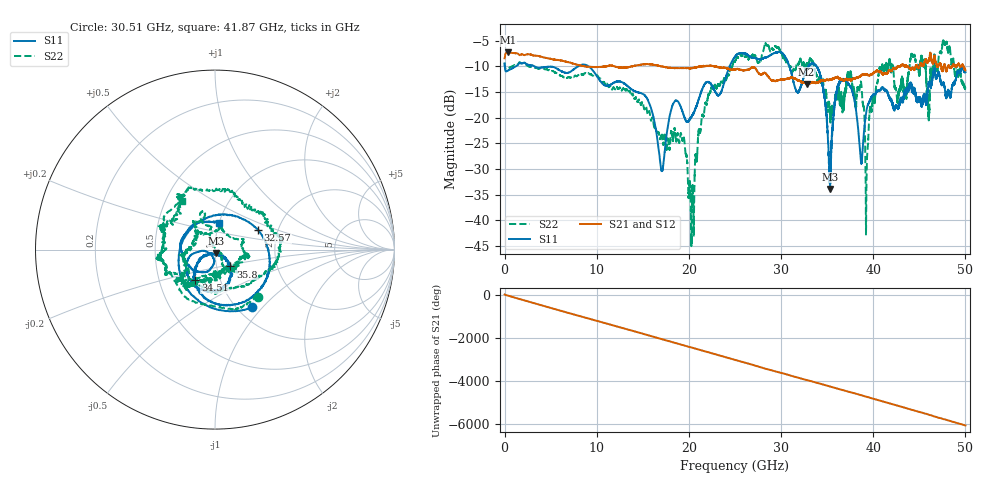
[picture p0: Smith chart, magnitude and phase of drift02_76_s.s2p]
!Created with skrf (http://scikit-rf.org).
# Hz S RI R 50.0
!freq ReS11 ImS11 ReS21 ImS21 ReS12 ImS12 ReS22 ImS22
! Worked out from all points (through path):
!   10001 points, 300 kHz to 50 GHz, reference 50 ohm
!   highest |S21| = -7.32 dB at 375.3 MHz (marker M1); lowest = -13.5 dB at 32.77 GHz (marker M2)
!   group delay of S21, straight-line fit = 335 ps
!   lowest |S11| = -33.9 dB at 35.32 GHz (marker M3), VSWR 1.04, Z = 50.7 - j1.89 ohm
!   |S11| at or under -10 dB: 3.224 GHz to 8.007 GHz (4.783 GHz wide, 85.2 % of centre); 9.107 GHz to 24.41 GHz (15.31 GHz wide, 91.3 % of centre); 33.85 GHz to end of sweep (the widest 3 of 9)
!   |S22| runs from -45.0 to -5.0 dB; largest |S21 - S12| = 0.013
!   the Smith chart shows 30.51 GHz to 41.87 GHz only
!   S11 on the Smith chart (normalised r, x): 30.51 GHz: 1.16, -0.88; 32.57 GHz: 1.58, +0.37; 34.51 GHz: 0.76, -0.27; 35.8 GHz: 1.16, -0.22; 41.87 GHz: 1.00, +0.30
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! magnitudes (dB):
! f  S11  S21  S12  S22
! 300 kHz  -9.5  -8.5  -8.4  -9.3
! 375.3 MHz  -10.8  -7.3  -7.3  -10.5
! 8.335 GHz  -9.7  -9.9  -9.9  -11.6
! 16.67 GHz  -25.5  -9.9  -9.9  -22.8
! 19.31 GHz  -18.9  -10.4  -10.3  -24.5
! 20.37 GHz  -19.5  -10.3  -10.3  -34.1
! 21.94 GHz  -13.1  -10.0  -10.0  -17.2
! 25 GHz  -8.1  -10.6  -10.6  -9.0
! 30.51 GHz  -8.4  -12.5  -12.4  -9.0
! 32.57 GHz  -11.6  -13.2  -13.2  -10.3
! 32.77 GHz  -10.8  -13.5  -13.5  -9.7
! 33.34 GHz  -9.5  -13.1  -13.2  -9.0
! 34.51 GHz  -13.9  -12.8  -12.7  -12.4
! 35.32 GHz  -33.9  -12.5  -12.5  -19.4
! 35.8 GHz  -17.9  -12.4  -12.3  -17.2
! 37.25 GHz  -13.3  -12.7  -12.6  -11.4
! 38.54 GHz  -25.9  -12.0  -12.0  -14.1
! 39.32 GHz  -18.2  -11.6  -11.6  -28.5
! 41.67 GHz  -15.8  -10.9  -11.1  -9.6
! 41.87 GHz  -16.6  -10.9  -10.9  -9.7
! 47.77 GHz  -14.3  -9.8  -9.8  -5.5
! 50 GHz  -11.1  -10.8  -10.8  -14.1
